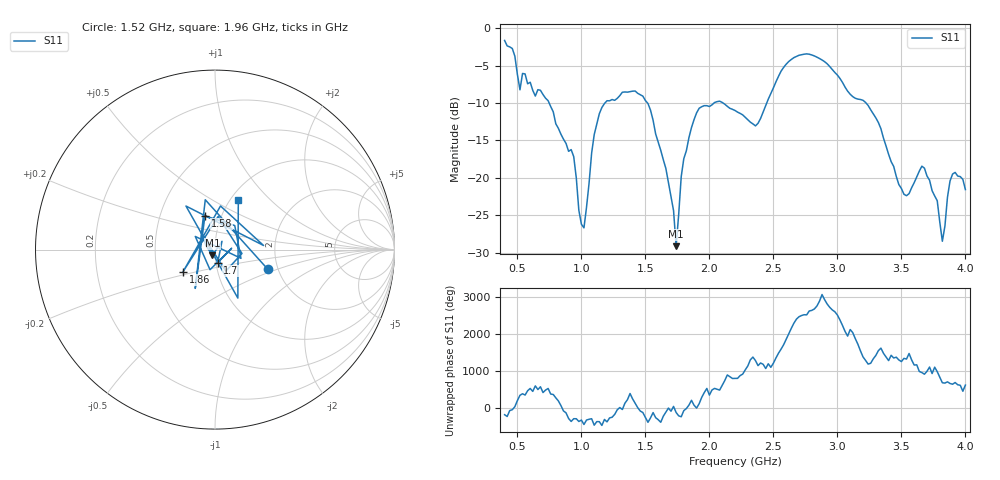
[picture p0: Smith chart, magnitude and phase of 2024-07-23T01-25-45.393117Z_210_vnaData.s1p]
!Created with skrf (http://scikit-rf.org).
# Hz S RI R 50.0
!freq ReS11 ImS11
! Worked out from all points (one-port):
!   181 points, 400 MHz to 4 GHz, reference 50 ohm
!   lowest |S11| = -29.1 dB at 1.74 GHz (marker M1), VSWR 1.07, Z = 48.5 - j3.09 ohm
!   |S11| at or under -10 dB: 747.9 MHz to 1.184 GHz (436 MHz wide, 45.1 % of centre); 1.517 GHz to 2.036 GHz (519.4 MHz wide, 29.2 % of centre); 3.224 GHz to end of sweep (the widest 3 of 4)
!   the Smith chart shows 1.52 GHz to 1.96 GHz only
!   S11 on the Smith chart (normalised r, x): 1.52 GHz: 1.77, -0.43; 1.58 GHz: 0.84, +0.33; 1.7 GHz: 1.02, -0.15; 1.86 GHz: 0.68, -0.18; 1.96 GHz: 1.09, +0.66
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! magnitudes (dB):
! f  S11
! 400 MHz  -1.6
! 520 MHz  -8.2
! 680 MHz  -8.3
! 860 MHz  -14.8
! 940 MHz  -17.2
! 980 MHz  -24.3
! 1.02 GHz  -26.7
! 1.14 GHz  -11.4
! 1.3 GHz  -9.0
! 1.52 GHz  -10.1
! 1.58 GHz  -14.1
! 1.7 GHz  -22.4
! 1.74 GHz  -29.1
! 1.76 GHz  -24.9
! 1.8 GHz  -17.4
! 1.86 GHz  -13.3
! 1.96 GHz  -10.4
! 2.2 GHz  -11.0
! 2.36 GHz  -13.1
! 2.66 GHz  -3.9
! 3.1 GHz  -8.8
! 3.3 GHz  -12.0
! 3.56 GHz  -22.1
! 3.68 GHz  -18.7
! 3.78 GHz  -23.1
! 3.82 GHz  -28.5
! 3.9 GHz  -19.5
! 4 GHz  -21.6
